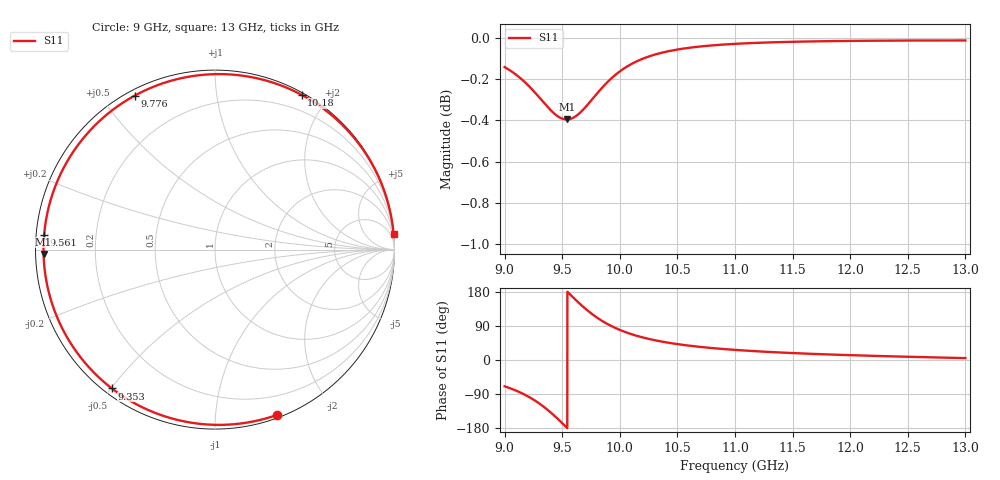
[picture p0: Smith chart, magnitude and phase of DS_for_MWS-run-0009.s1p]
! TOUCHSTONE file generated by CST DESIGN STUDIO
! Date and time: Tue Feb  4 13:24:01 2025
! Project name: C:\Work\MatlabApps\UnitCellOptimizationMatlab\CST\unitcell.cst
! Tree item: Tasks\Sweep1\SPara1\S-Parameters
! Header version: 2024
! Port assignment regex: !\s*Touchstone port\s*([0-9]+)\s*=\s*(CST MWS port|CST DES external port|CST DES block port)\s*(.+)\s* \(\"(.*)\"\)(\s*mode\s*([0-9]+))?.*
! Touchstone port assignment:
! Touchstone port 1 = CST DES external port 1 ("")
# GHz S MA R 50
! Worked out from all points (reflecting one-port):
!   4001 points, 9 GHz to 13 GHz, reference 50 ohm
!   lowest |S11| = -0.4 dB at 9.54 GHz (marker M1), VSWR 43.97, Z = 1.14 - j0.646 ohm
!   phase of S11 starts at -69 deg and turns -286 deg over the sweep
!   S11 on the Smith chart (normalised r, x): 9 GHz: 0.02, -1.44; 9.353 GHz: 0.02, -0.50; 9.561 GHz: 0.02, +0.04; 9.776 GHz: 0.02, +0.61; 10.18 GHz: 0.02, +1.71; 13 GHz: 0, +23
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9  0.9839 -69.5
9.1  0.9797 -80.9
9.209  0.9737 -97.1
9.285  0.9685 -111.4
9.353  0.9636 -126.6
9.423  0.9591 -144.6
9.463  0.9572 -155.8
9.5  0.956 -166.6
9.54  0.9555 -178.5
9.561  0.9557 175.2
9.615  0.9571 159.2
9.675  0.9603 142.3
9.725  0.9638 129.4
9.776  0.9676 117.5
9.823  0.971 107.6
9.875  0.9746 98.0
9.933  0.9781 88.6
10  0.9816 79.4
10.088  0.9852 69.5
10.184  0.9882 60.7
10.328  0.9913 50.7
10.5  0.9936 41.9
10.721  0.9955 33.8
11  0.9968 26.7
11.5  0.998 18.3
12  0.9985 12.7
12.5  0.9987 8.5
13  0.9987 5.0
